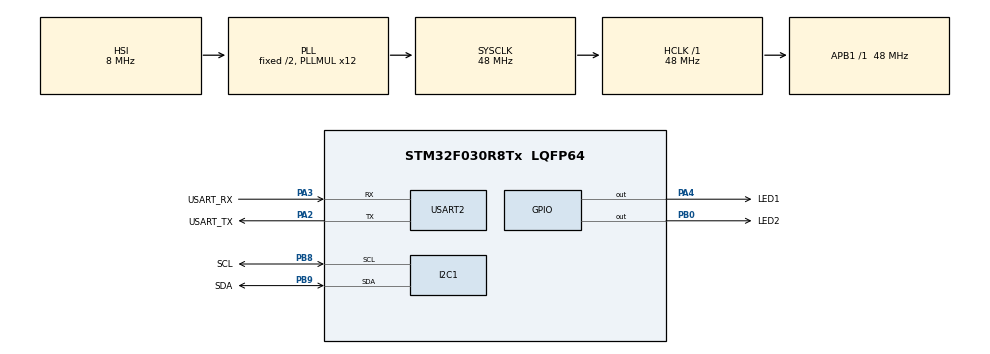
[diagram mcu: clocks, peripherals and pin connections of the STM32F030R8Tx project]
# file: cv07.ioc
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FREERTOS.Queues01=xVisualQueue,16,int16_t,0,Dynamic,NULL,NULL
FREERTOS.Tasks01=defaultTask,0,128,StartDefaultTask,Default,NULL,Dynamic,NULL,NULL;visualTask,0,128,StartVisualTask,Default,NULL,Dynamic,NULL,NULL;AcceleroTask,0,128,StartAcceleroTask,Default,NULL,Dynamic,NULL,NULL
FREERTOS.configUSE_NEWLIB_REENTRANT=1
I2C1.Timing=0x00201D2B
Mcu.Family=STM32F0
Mcu.Name=STM32F030R8Tx
Mcu.Package=LQFP64
NVIC.TIM14_IRQn=true\:3\:0\:false\:false\:true\:false\:false\:true\:true
NVIC.TimeBase=TIM14_IRQn
NVIC.TimeBaseIP=TIM14
PA13.GPIO_Label=TMS
PA13.Mode=Serial_Wire
PA13.Signal=SYS_SWDIO
PA14.GPIO_Label=TCK
PA14.Mode=Serial_Wire
PA14.Signal=SYS_SWCLK
PA2.GPIO_Label=USART_TX
PA2.GPIO_Mode=GPIO_MODE_AF_PP
PA2.GPIO_PuPd=GPIO_NOPULL
PA2.GPIO_Speed=GPIO_SPEED_FREQ_LOW
PA2.Mode=Asynchronous
PA2.Signal=USART2_TX
PA3.GPIO_Label=USART_RX
PA3.GPIO_Mode=GPIO_MODE_AF_PP
PA3.GPIO_PuPd=GPIO_NOPULL
PA3.GPIO_Speed=GPIO_SPEED_FREQ_LOW
PA3.Mode=Asynchronous
PA3.Signal=USART2_RX
PA4.GPIO_Label=LED1
PA4.Signal=GPIO_Output
PB0.GPIO_Label=LED2
PB0.Signal=GPIO_Output
PB8.GPIO_Label=SCL
PB8.Mode=I2C
PB8.Signal=I2C1_SCL
PB9.GPIO_Label=SDA
PB9.Mode=I2C
PB9.Signal=I2C1_SDA
PC14-OSC32_IN.Mode=LSE-External-Oscillator
PC14-OSC32_IN.Signal=RCC_OSC32_IN
PC15-OSC32_OUT.Mode=LSE-External-Oscillator
PC15-OSC32_OUT.Signal=RCC_OSC32_OUT
PF0-OSC_IN.Mode=HSE-External-Clock-Source
PF0-OSC_IN.Signal=RCC_OSC_IN
PF1-OSC_OUT.Signal=RCC_OSC_OUT
ProjectManager.HeapSize=0x200
ProjectManager.StackSize=0x400
ProjectManager.TargetToolchain=STM32CubeIDE
RCC.AHBFreq_Value=48000000
RCC.APB1Freq_Value=48000000
RCC.APB1TimFreq_Value=48000000
RCC.HCLKFreq_Value=48000000
RCC.PLLMUL=RCC_PLL_MUL12
RCC.SYSCLKFreq_VALUE=48000000
RCC.SYSCLKSource=RCC_SYSCLKSOURCE_PLLCLK
USART2.VirtualMode-Asynchronous=VM_ASYNC
VP_FREERTOS_VS_CMSIS_V1.Mode=CMSIS_V1
VP_SYS_VS_tim14.Mode=TIM14
board=NUCLEO-F030R8

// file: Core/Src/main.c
/* USER CODE BEGIN Header */
/**
 ******************************************************************************
 * @file           : main.c
 * @brief          : Main program body
 ******************************************************************************
 * @attention
 *
 * Copyright (c) 2025 STMicroelectronics.
 * All rights reserved.
 *
 * This software is licensed under terms that can be found in the LICENSE file
 * in the root directory of this software component.
 * If no LICENSE file comes with this software, it is provided AS-IS.
 *
 ******************************************************************************
 */
/* USER CODE END Header */
#include "main.h"
#include "cmsis_os.h"

/* USER CODE BEGIN Includes */
#include <stdio.h>
#include <stdlib.h>

#include "lis2dw12_reg.h"
/* USER CODE END Includes */

I2C_HandleTypeDef hi2c1;

UART_HandleTypeDef huart2;

osThreadId defaultTaskHandle;
osThreadId visualTaskHandle;
osThreadId AcceleroTaskHandle;
osMessageQId xVisualQueueHandle;

void SystemClock_Config(void);
static void MX_GPIO_Init(void);
static void MX_USART2_UART_Init(void);
static void MX_I2C1_Init(void);
void StartDefaultTask(void const * argument);
void StartVisualTask(void const * argument);
void StartAcceleroTask(void const * argument);

/* USER CODE BEGIN PFP */
static int32_t platform_write(void *handle, uint8_t reg, uint8_t *bufp, uint16_t len);
static int32_t platform_read(void *handle, uint8_t reg, uint8_t *bufp, uint16_t len);
static stmdev_ctx_t lis2dw12 = {
		.write_reg = platform_write,
		.read_reg = platform_read,
		.handle = &hi2c1,
};
/* USER CODE END PFP */

/* USER CODE BEGIN 0 */
int _write(int file, char const *buf, int n)
{
	/* stdout redirection to UART2 */
	HAL_UART_Transmit(&huart2, (uint8_t*)(buf), n, HAL_MAX_DELAY);
	return n;
}
static int32_t platform_write(void *handle, uint8_t reg, uint8_t *bufp,
		uint16_t len)
{
	HAL_I2C_Mem_Write(handle, LIS2DW12_I2C_ADD_H, reg, I2C_MEMADD_SIZE_8BIT, bufp, len, 1000);
	return 0;
}
static int32_t platform_read(void *handle, uint8_t reg, uint8_t *bufp, uint16_t len)
{
	HAL_I2C_Mem_Read(handle, LIS2DW12_I2C_ADD_H, reg, I2C_MEMADD_SIZE_8BIT, bufp, len, 1000);
	return 0;
}
/* USER CODE END 0 */

int main(void)
{

	/* MCU Configuration--------------------------------------------------------*/

	/* Reset of all peripherals, Initializes the Flash interface and the Systick. */
	HAL_Init();

	/* Configure the system clock */
	SystemClock_Config();

	/* Initialize all configured peripherals */
	MX_GPIO_Init();
	MX_USART2_UART_Init();
	MX_I2C1_Init();

	/* Create the queue(s) */
	/* definition and creation of xVisualQueue */
	osMessageQDef(xVisualQueue, 16, int16_t);
	xVisualQueueHandle = osMessageCreate(osMessageQ(xVisualQueue), NULL);

	/* Create the thread(s) */
	/* definition and creation of defaultTask */
	osThreadDef(defaultTask, StartDefaultTask, osPriorityNormal, 0, 128);
	defaultTaskHandle = osThreadCreate(osThread(defaultTask), NULL);

	/* definition and creation of visualTask */
	osThreadDef(visualTask, StartVisualTask, osPriorityNormal, 0, 128);
	visualTaskHandle = osThreadCreate(osThread(visualTask), NULL);

	/* definition and creation of AcceleroTask */
	osThreadDef(AcceleroTask, StartAcceleroTask, osPriorityNormal, 0, 128);
	AcceleroTaskHandle = osThreadCreate(osThread(AcceleroTask), NULL);

	/* Start scheduler */
	osKernelStart();

	/* We should never get here as control is now taken by the scheduler */

	/* Infinite loop */
	while (1)
	{

	}
}

void SystemClock_Config(void)
{
	RCC_OscInitTypeDef RCC_OscInitStruct = {0};
	RCC_ClkInitTypeDef RCC_ClkInitStruct = {0};
	RCC_PeriphCLKInitTypeDef PeriphClkInit = {0};

	/** Initializes the RCC Oscillators according to the specified parameters
	 * in the RCC_OscInitTypeDef structure.
	 */
	RCC_OscInitStruct.OscillatorType = RCC_OSCILLATORTYPE_HSI;
	RCC_OscInitStruct.HSIState = RCC_HSI_ON;
	RCC_OscInitStruct.HSICalibrationValue = RCC_HSICALIBRATION_DEFAULT;
	RCC_OscInitStruct.PLL.PLLState = RCC_PLL_ON;
	RCC_OscInitStruct.PLL.PLLSource = RCC_PLLSOURCE_HSI;
	RCC_OscInitStruct.PLL.PLLMUL = RCC_PLL_MUL12;
	RCC_OscInitStruct.PLL.PREDIV = RCC_PREDIV_DIV1;
	if (HAL_RCC_OscConfig(&RCC_OscInitStruct) != HAL_OK)
	{
		Error_Handler();
	}

	/** Initializes the CPU, AHB and APB buses clocks
	 */
	RCC_ClkInitStruct.ClockType = RCC_CLOCKTYPE_HCLK|RCC_CLOCKTYPE_SYSCLK
			|RCC_CLOCKTYPE_PCLK1;
	RCC_ClkInitStruct.SYSCLKSource = RCC_SYSCLKSOURCE_PLLCLK;
	RCC_ClkInitStruct.AHBCLKDivider = RCC_SYSCLK_DIV1;
	RCC_ClkInitStruct.APB1CLKDivider = RCC_HCLK_DIV1;

	if (HAL_RCC_ClockConfig(&RCC_ClkInitStruct, FLASH_LATENCY_1) != HAL_OK)
	{
		Error_Handler();
	}
	PeriphClkInit.PeriphClockSelection = RCC_PERIPHCLK_I2C1;
	PeriphClkInit.I2c1ClockSelection = RCC_I2C1CLKSOURCE_HSI;
	if (HAL_RCCEx_PeriphCLKConfig(&PeriphClkInit) != HAL_OK)
	{
		Error_Handler();
	}
}

static void MX_I2C1_Init(void)
{

	hi2c1.Instance = I2C1;
	hi2c1.Init.Timing = 0x00201D2B;
	hi2c1.Init.OwnAddress1 = 0;
	hi2c1.Init.AddressingMode = I2C_ADDRESSINGMODE_7BIT;
	hi2c1.Init.DualAddressMode = I2C_DUALADDRESS_DISABLE;
	hi2c1.Init.OwnAddress2 = 0;
	hi2c1.Init.OwnAddress2Masks = I2C_OA2_NOMASK;
	hi2c1.Init.GeneralCallMode = I2C_GENERALCALL_DISABLE;
	hi2c1.Init.NoStretchMode = I2C_NOSTRETCH_DISABLE;
	if (HAL_I2C_Init(&hi2c1) != HAL_OK)
	{
		Error_Handler();
	}

	/** Configure Analogue filter
	 */
	if (HAL_I2CEx_ConfigAnalogFilter(&hi2c1, I2C_ANALOGFILTER_ENABLE) != HAL_OK)
	{
		Error_Handler();
	}

	/** Configure Digital filter
	 */
	if (HAL_I2CEx_ConfigDigitalFilter(&hi2c1, 0) != HAL_OK)
	{
		Error_Handler();
	}

}

static void MX_USART2_UART_Init(void)
{

	huart2.Instance = USART2;
	huart2.Init.BaudRate = 38400;
	huart2.Init.WordLength = UART_WORDLENGTH_8B;
	huart2.Init.StopBits = UART_STOPBITS_1;
	huart2.Init.Parity = UART_PARITY_NONE;
	huart2.Init.Mode = UART_MODE_TX_RX;
	huart2.Init.HwFlowCtl = UART_HWCONTROL_NONE;
	huart2.Init.OverSampling = UART_OVERSAMPLING_16;
	huart2.Init.OneBitSampling = UART_ONE_BIT_SAMPLE_DISABLE;
	huart2.AdvancedInit.AdvFeatureInit = UART_ADVFEATURE_NO_INIT;
	if (HAL_UART_Init(&huart2) != HAL_OK)
	{
		Error_Handler();
	}

}

static void MX_GPIO_Init(void)
{
	GPIO_InitTypeDef GPIO_InitStruct = {0};

	/* GPIO Ports Clock Enable */
	__HAL_RCC_GPIOC_CLK_ENABLE();
	__HAL_RCC_GPIOF_CLK_ENABLE();
	__HAL_RCC_GPIOA_CLK_ENABLE();
	__HAL_RCC_GPIOB_CLK_ENABLE();

	/*Configure GPIO pin Output Level */
	HAL_GPIO_WritePin(LED1_GPIO_Port, LED1_Pin, GPIO_PIN_RESET);

	/*Configure GPIO pin Output Level */
	HAL_GPIO_WritePin(LED2_GPIO_Port, LED2_Pin, GPIO_PIN_RESET);

	/*Configure GPIO pin : LED1_Pin */
	GPIO_InitStruct.Pin = LED1_Pin;
	GPIO_InitStruct.Mode = GPIO_MODE_OUTPUT_PP;
	GPIO_InitStruct.Pull = GPIO_NOPULL;
	GPIO_InitStruct.Speed = GPIO_SPEED_FREQ_LOW;
	HAL_GPIO_Init(LED1_GPIO_Port, &GPIO_InitStruct);

	/*Configure GPIO pin : LED2_Pin */
	GPIO_InitStruct.Pin = LED2_Pin;
	GPIO_InitStruct.Mode = GPIO_MODE_OUTPUT_PP;
	GPIO_InitStruct.Pull = GPIO_NOPULL;
	GPIO_InitStruct.Speed = GPIO_SPEED_FREQ_LOW;
	HAL_GPIO_Init(LED2_GPIO_Port, &GPIO_InitStruct);

}

void StartDefaultTask(void const * argument)
{
	for(;;)
	{
		osDelay(1);
	}
}

void StartVisualTask(void const * argument)
{
	/* USER CODE BEGIN StartVisualTask */
	/* Infinite loop */
	for(;;)
	{

		int16_t msg;

		if (xQueueReceive(xVisualQueueHandle, &msg, portMAX_DELAY))
		{
			if (msg > 1000)
			{
				HAL_GPIO_WritePin(LED1_GPIO_Port,LED1_Pin,0);
				HAL_GPIO_WritePin(LED2_GPIO_Port,LED2_Pin,1);
			}
			else if (msg < -1000)
			{
				HAL_GPIO_WritePin(LED1_GPIO_Port,LED1_Pin,1);
				HAL_GPIO_WritePin(LED2_GPIO_Port,LED2_Pin,0);
			}
			else
			{
				HAL_GPIO_WritePin(LED1_GPIO_Port,LED1_Pin,0);
				HAL_GPIO_WritePin(LED2_GPIO_Port,LED2_Pin,0);
			}
		}
		//osDelay(1);
	}
	/* USER CODE END StartVisualTask */
}

void StartAcceleroTask(void const * argument)
{
	/* USER CODE BEGIN StartAcceleroTask */

	uint8_t whoamI = 0;
	lis2dw12_device_id_get(&lis2dw12, &whoamI);
	printf("LIS2DW12_ID %s\n", (whoamI == LIS2DW12_ID) ? "OK" : "FAIL");

	lis2dw12_full_scale_set(&lis2dw12, LIS2DW12_2g);
	lis2dw12_power_mode_set(&lis2dw12, LIS2DW12_CONT_LOW_PWR_LOW_NOISE_2);
	lis2dw12_block_data_update_set(&lis2dw12, PROPERTY_ENABLE);
	// enable continuous FIFO
	lis2dw12_fifo_mode_set(&lis2dw12, LIS2DW12_STREAM_MODE);
	// enable part from power-down
	lis2dw12_data_rate_set(&lis2dw12, LIS2DW12_XL_ODR_25Hz);

	/* Infinite loop */
	for(;;)
	{
		/*int16_t msg = rand() % (5000 - (-5000) + 1) + (-5000);

		xQueueSend(xVisualQueueHandle, &msg, 0);
		vTaskDelay(300);*/

		uint8_t samples;
		int16_t raw_acceleration[3];
		lis2dw12_fifo_data_level_get(&lis2dw12, &samples);
		for (uint8_t i = 0; i < samples; i++) {
			// Read acceleration data
			lis2dw12_acceleration_raw_get(&lis2dw12, raw_acceleration);
		}

		printf("X=%d Y=%d Z=%d\n", raw_acceleration[0], raw_acceleration[1], raw_acceleration[2]);

		xQueueSend(xVisualQueueHandle, &raw_acceleration[0], 0);
		vTaskDelay(50);

		//osDelay(1);
	}
	/* USER CODE END StartAcceleroTask */
}

void HAL_TIM_PeriodElapsedCallback(TIM_HandleTypeDef *htim)
{
	if (htim->Instance == TIM14)
	{
		HAL_IncTick();
	}
}

void Error_Handler(void)
{
	__disable_irq();
	while (1)
	{
	}
}
